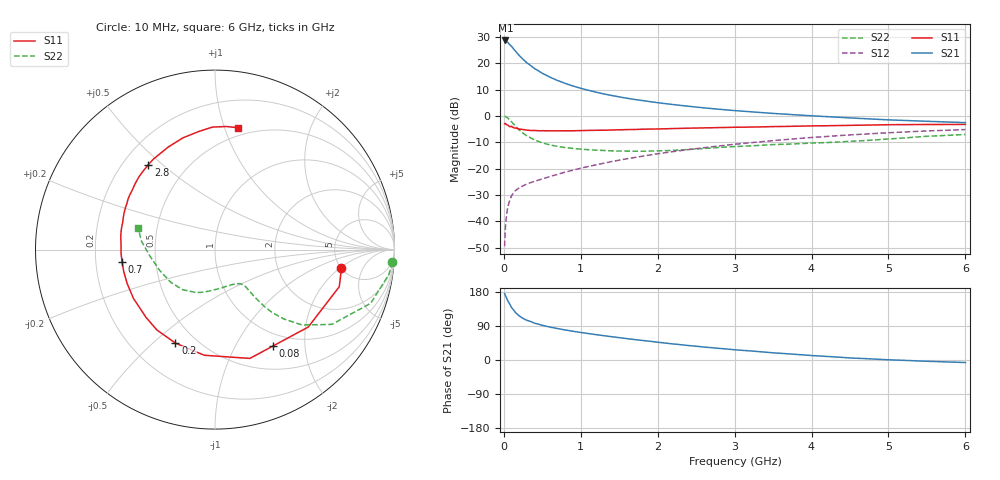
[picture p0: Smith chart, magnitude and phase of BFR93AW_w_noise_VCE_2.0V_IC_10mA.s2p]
! (c) 2017  Infineon Technologies AG, Munich
! Infineon Technologies  Discrete & RF Semiconductors
! BFR93AW
! VCE =  2.0 V,  IC =  10 mA
! Common Emitter S-Parameters:  Jan 2017
# GHz  S  MA  R  50
!  f  S11  S21  S12  S22
! GHz  MAG  ANG  MAG  ANG  MAG  ANG  MAG  ANG
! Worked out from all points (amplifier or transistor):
!   77 points, 10 MHz to 6 GHz, reference 50 ohm
!   highest |S21| = 28.6 dB at 20 MHz (marker M1)
!   |S21| within 3 dB of that: start of sweep to 121.2 MHz
!   unconditionally stable (mu >= 1): 804.1 MHz to 2.283 GHz
!   at 130 MHz: K = 0.31, MSG = 27.2 dB, |S12| = -29.0 dB
!   at 2.2 GHz: K = 1.01, MAG = 8.3 dB, |S12| = -13.5 dB
!   at 6 GHz: K = 0.91, MSG = 1.3 dB, |S12| = -5.2 dB
!   lowest NFmin = 1.25 dB at 450 MHz
!   S11 on the Smith chart (normalised r, x): 10 MHz: 5.02, -2.12; 80 MHz: 0.82, -1.44; 200 MHz: 0.39, -0.59; 700 MHz: 0.32, -0.06; 2.8 GHz: 0.30, +0.45; 6 GHz: 0.43, +1.11
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0.01  0.7122 -8.4  26.79 175.1  0.0034 84.0  0.9897 -4.0
0.02  0.7226 -16.6  26.97 170.3  0.0076 89.1  0.979 -8.1
0.05  0.6754 -39.7  24.96 156.5  0.0185 72.5  0.9177 -19.0
0.08  0.6269 -58.8  22.21 146.3  0.0258 64.6  0.8252 -26.6
0.1  0.6367 -72.2  20.84 138.2  0.0308 61.4  0.7731 -32.6
0.15  0.5917 -95.8  16.99 125.4  0.0386 54.2  0.6416 -40.9
0.2  0.5657 -112.9  14.01 116.4  0.0431 51.2  0.5428 -45.3
0.25  0.5526 -125.8  11.84 109.6  0.0474 49.2  0.4714 -47.8
0.3  0.5388 -135.5  10.15 104.7  0.0513 48.8  0.4176 -49.1
0.4  0.5296 -149.1  7.909 97.1  0.0576 50.6  0.3501 -50.0
0.5  0.5247 -158.9  6.433 91.5  0.064 52.4  0.3085 -50.2
0.6  0.523 -166.5  5.434 86.8  0.0712 54.4  0.2824 -50.4
0.7  0.5223 -172.4  4.688 82.9  0.0782 56.9  0.2642 -50.6
0.9  0.5239 177.9  3.684 75.8  0.0938 59.2  0.2421 -52.7
1.1  0.532 170.3  3.06 69.8  0.1103 61.2  0.2294 -55.9
1.5  0.5463 158.0  2.296 59.0  0.145 62.3  0.2158 -65.8
2.1  0.571 142.8  1.712 44.7  0.2013 60.6  0.2198 -86.2
2.8  0.6016 128.1  1.338 30.6  0.27 56.1  0.2531 -109.2
3.1  0.6123 122.1  1.233 25.5  0.3 53.4  0.2664 -118.0
4.1  0.6501 104.3  0.988 10.6  0.3994 43.2  0.3092 -147.0
5.1  0.6832 89.9  0.832 -0.2  0.4879 31.5  0.3742 -177.4
6  0.691 79.3  0.747 -6.7  0.5523 21.0  0.4458 164.2
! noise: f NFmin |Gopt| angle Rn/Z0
0.45  1.25  0.15  94  0.13
0.9  1.55  0.24  150  0.14
1.9  2.61  0.47  -148  0.18
2.4  3.24  0.54  -131  0.36
